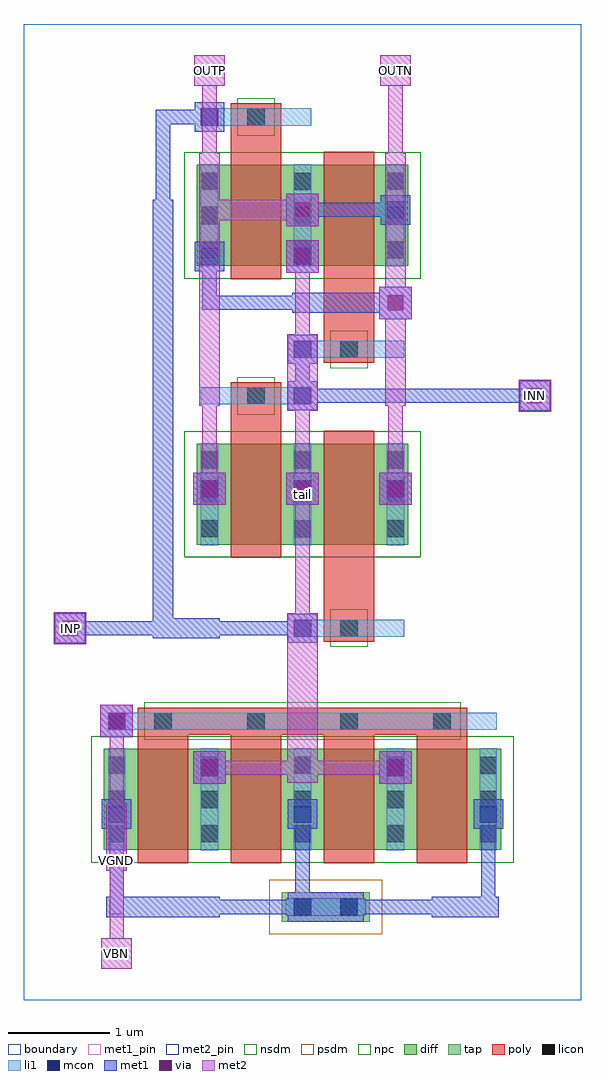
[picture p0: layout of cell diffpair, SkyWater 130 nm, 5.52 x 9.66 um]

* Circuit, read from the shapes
.subckt diffpair INN INP OUTN OUTP VBN VGND tail
XM1 tail VBN VGND VGND sky130_fd_pr__nfet_01v8 w=1 l=0.5 m=4
XM2 tail INN OUTP VGND sky130_fd_pr__nfet_01v8 w=1 l=0.5 m=2
XM3 tail INP OUTN VGND sky130_fd_pr__nfet_01v8 w=1 l=0.5 m=2
.ends

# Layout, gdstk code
import gdstk
lib = gdstk.Library(unit=1e-6, precision=1e-09)
def R(c, l, rs):  # rectangles x0, y0, x1, y1
    for r in rs: c.add(gdstk.rectangle(r[:2], r[2:], *l))
def A(c, l, x, y, w, h, nx, ny, dx, dy):  # array of equal rectangles
    R(c, l, [(x+i*dx, y+j*dy, x+i*dx+w, y+j*dy+h) for i in range(nx) for j in range(ny)])
diff = (65, 20)
tap = (65, 44)
poly = (66, 20)
licon = (66, 44)
li1 = (67, 20)
mcon = (67, 44)
met1_pin = (68, 16)
met1 = (68, 20)
via = (68, 44)
met2_pin = (69, 16)
met2 = (69, 20)
nsdm = (93, 44)
psdm = (94, 20)
npc = (95, 20)
boundary = (235, 4)

diffpair = lib.new_cell('diffpair')
R(diffpair, diff, [(0.795,1.485,4.725,2.485), (1.715,4.505,3.805,5.505), (1.715,7.265,3.805,8.265)])
R(diffpair, tap, [(2.555,0.775,3.425,1.065)])
A(diffpair, poly, 1.13, 1.355, 0.5, 1.405, 4, 1, 0.92, 0)
R(diffpair, poly, [(1.13,2.625,4.39,2.895), (2.97,3.545,3.47,3.815), (2.97,3.68,3.47,5.635), (2.05,4.375,2.55,5.98), (2.05,5.845,2.55,6.115), (2.97,6.305,3.47,6.575), (2.97,6.44,3.47,8.395), (2.05,7.135,2.55,8.74), (2.05,8.605,2.55,8.875)])
A(diffpair, licon, 3.135, 0.835, 0.17, 0.17, 1, 3, 0, 2.76)
A(diffpair, licon, 0.835, 1.56, 0.17, 0.17, 5, 3, 0.92, 0.34)
A(diffpair, licon, 1.295, 2.675, 0.17, 0.17, 4, 1, 0.92, 0)
A(diffpair, licon, 1.755, 4.58, 0.17, 0.17, 3, 3, 0.92, 0.34)
A(diffpair, licon, 1.755, 7.34, 0.17, 0.17, 3, 3, 0.92, 0.34)
R(diffpair, licon, [(2.675,0.835,2.845,1.005), (2.215,5.895,2.385,6.065), (2.215,8.655,2.385,8.825)])
A(diffpair, li1, 0.835, 1.48, 0.17, 1.01, 5, 1, 0.92, 0)
A(diffpair, li1, 1.755, 4.5, 0.17, 1.01, 3, 2, 0.92, 2.76)
R(diffpair, li1, [(2.595,0.835,3.385,1.005), (0.835,2.675,4.685,2.845), (2.675,3.595,3.765,3.765), (1.755,5.895,2.845,6.065), (2.675,6.355,3.765,6.525), (1.755,8.655,2.845,8.825)])
A(diffpair, mcon, 0.835, 1.755, 0.17, 0.17, 3, 1, 1.84, 0)
A(diffpair, mcon, 1.755, 4.975, 0.17, 0.17, 3, 1, 0.92, 0)
R(diffpair, mcon, [(2.675,0.835,2.845,1.005), (3.135,0.835,3.305,1.005), (1.755,2.215,1.925,2.385), (3.595,2.215,3.765,2.385), (0.835,2.675,1.005,2.845), (2.675,3.595,2.845,3.765), (2.675,5.895,2.845,6.065), (2.675,6.355,2.845,6.525), (1.755,7.275,1.925,7.445), (2.675,7.275,2.845,7.445), (3.595,7.735,3.765,7.905), (1.755,8.655,1.925,8.825)])
R(diffpair, met1_pin, [(0.85,0.85,0.99,1.91)])
A(diffpair, met1, 0.85, 0.85, 0.14, 1.06, 3, 1, 1.84, 0)
A(diffpair, met1, 0.775, 1.695, 0.29, 0.29, 3, 1, 1.84, 0)
A(diffpair, met1, 1.68, 4.9, 0.32, 0.32, 3, 1, 0.92, 0)
A(diffpair, met1, 1.695, 4.915, 0.29, 0.29, 3, 1, 0.92, 0)
R(diffpair, met1, [(2.615,0.775,3.365,1.065), (0.82,0.82,1.94,1.02), (4.04,0.82,4.7,1.02), (1.77,0.85,2.83,0.99), (2.69,0.85,2.83,0.99), (2.69,0.85,4.21,0.99), (1.68,2.14,2,2.46), (3.52,2.14,3.84,2.46), (1.695,2.155,1.985,2.445), (3.535,2.155,3.825,2.445), (0.76,2.6,1.08,2.92), (0.775,2.615,1.065,2.905), (0.3,3.52,0.62,3.84), (2.615,3.535,2.905,3.825), (1.28,3.58,1.94,3.78), (1.28,3.58,1.48,7.92), (0.39,3.61,1.45,3.75), (1.77,3.61,2.83,3.75), (4.9,5.82,5.22,6.14), (2.615,5.835,2.905,6.125), (2.69,5.91,2.83,6.51), (2.69,5.91,5.13,6.05), (2.615,6.295,2.905,6.585), (3.52,6.74,3.84,7.06), (2.66,6.8,3.78,7), (1.77,6.83,2.83,6.97), (1.77,6.83,1.91,7.43), (2.6,7.2,2.92,7.52), (1.695,7.215,1.985,7.505), (2.615,7.215,2.905,7.505), (2.6,7.66,2.92,7.98), (3.535,7.675,3.825,7.965), (1.31,7.75,1.45,8.81), (2.69,7.75,3.75,7.89), (1.695,8.595,1.985,8.885), (1.31,8.67,1.91,8.81)])
A(diffpair, via, 1.765, 4.985, 0.15, 0.15, 3, 1, 0.92, 0)
R(diffpair, via, [(1.765,2.225,1.915,2.375), (3.605,2.225,3.755,2.375), (0.845,2.685,0.995,2.835), (0.385,3.605,0.535,3.755), (4.985,5.905,5.135,6.055), (3.605,6.825,3.755,6.975), (2.685,7.285,2.835,7.435), (2.685,7.745,2.835,7.895)])
R(diffpair, met2_pin, [(0.77,0.31,1.07,0.61), (0.31,3.53,0.61,3.83), (4.91,5.83,5.21,6.13), (1.69,9.05,1.99,9.35), (3.53,9.05,3.83,9.35)])
A(diffpair, met2, 1.68, 4.9, 0.32, 0.32, 3, 1, 0.92, 0)
A(diffpair, met2, 1.77, 4.99, 0.14, 1.06, 3, 1, 0.92, 0)
R(diffpair, met2, [(0.77,0.31,1.07,0.61), (0.85,0.39,0.99,1.45), (0.85,0.39,0.99,0.53), (0.82,1.28,1.02,1.94), (0.85,1.77,0.99,2.83), (1.68,2.14,2,2.46), (3.52,2.14,3.84,2.46), (2.61,2.15,2.91,3.83), (1.77,2.23,2.83,2.37), (2.69,2.23,3.75,2.37), (0.76,2.6,1.08,2.92), (0.3,3.52,0.62,3.84), (0.31,3.53,0.61,3.83), (0.39,3.61,0.53,3.75), (2.69,3.61,2.83,5.13), (4.9,5.82,5.22,6.14), (2.61,5.83,2.91,6.59), (4.91,5.83,5.21,6.13), (1.74,5.88,1.94,8.38), (3.58,5.88,3.78,8.38), (4.99,5.91,5.13,6.05), (2.69,6.37,2.83,7.43), (3.52,6.74,3.84,7.06), (2.6,7.2,2.92,7.52), (2.6,7.66,2.92,7.98), (1.74,7.72,2.86,7.92), (1.77,8.21,1.91,9.27), (3.61,8.21,3.75,9.27), (1.69,9.05,1.99,9.35), (3.53,9.05,3.83,9.35), (1.77,9.13,1.91,9.27), (3.61,9.13,3.75,9.27)])
R(diffpair, nsdm, [(0.67,1.36,4.85,2.61), (1.59,4.38,3.93,5.63), (1.59,7.14,3.93,8.39)])
R(diffpair, psdm, [(2.43,0.65,3.55,1.19)])
R(diffpair, npc, [(1.195,2.575,4.325,2.945), (3.035,3.495,3.405,3.865), (2.115,5.795,2.485,6.165), (3.035,6.255,3.405,6.625), (2.115,8.555,2.485,8.925)])
R(diffpair, boundary, [(0,0,5.52,9.66)])
diffpair.add(gdstk.Label('tail', (2.76,5.005), layer=67, texttype=5))
diffpair.add(gdstk.Label('VGND', (0.92,1.38), layer=68, texttype=5))
diffpair.add(gdstk.Label('INP', (0.46,3.68), layer=69, texttype=5))
diffpair.add(gdstk.Label('INN', (5.06,5.98), layer=69, texttype=5))
diffpair.add(gdstk.Label('VBN', (0.92,0.46), layer=69, texttype=5))
diffpair.add(gdstk.Label('OUTP', (1.84,9.2), layer=69, texttype=5))
diffpair.add(gdstk.Label('OUTN', (3.68,9.2), layer=69, texttype=5))
diffpair.add(gdstk.Label('VGND', (0.92,1.38), layer=68, texttype=16))
diffpair.add(gdstk.Label('INP', (0.46,3.68), layer=69, texttype=16))
diffpair.add(gdstk.Label('INN', (5.06,5.98), layer=69, texttype=16))
diffpair.add(gdstk.Label('VBN', (0.92,0.46), layer=69, texttype=16))
diffpair.add(gdstk.Label('OUTP', (1.84,9.2), layer=69, texttype=16))
diffpair.add(gdstk.Label('OUTN', (3.68,9.2), layer=69, texttype=16))

lib.write_gds('diffpair.gds')
